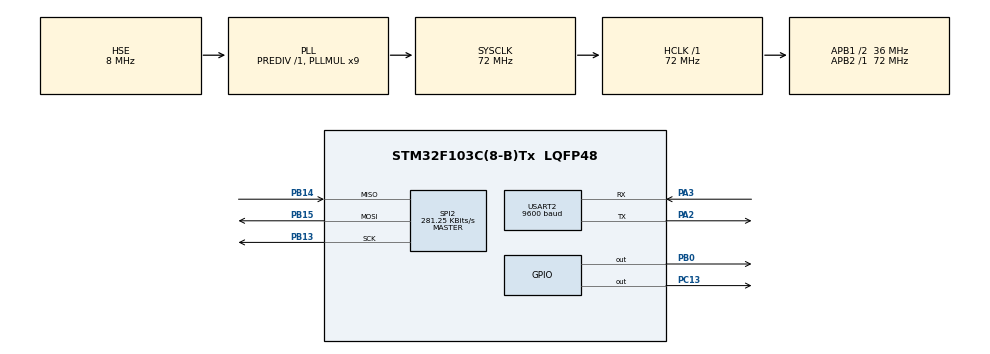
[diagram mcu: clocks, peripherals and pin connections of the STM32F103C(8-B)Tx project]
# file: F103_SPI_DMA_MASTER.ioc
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Dma.Request0=SPI2_RX
Dma.Request1=SPI2_TX
Dma.SPI2_RX.0.Direction=DMA_PERIPH_TO_MEMORY
Dma.SPI2_RX.0.Instance=DMA1_Channel4
Dma.SPI2_RX.0.MemDataAlignment=DMA_MDATAALIGN_BYTE
Dma.SPI2_RX.0.MemInc=DMA_MINC_ENABLE
Dma.SPI2_RX.0.Mode=DMA_NORMAL
Dma.SPI2_RX.0.PeriphDataAlignment=DMA_PDATAALIGN_BYTE
Dma.SPI2_RX.0.PeriphInc=DMA_PINC_DISABLE
Dma.SPI2_RX.0.Priority=DMA_PRIORITY_LOW
Dma.SPI2_TX.1.Direction=DMA_MEMORY_TO_PERIPH
Dma.SPI2_TX.1.Instance=DMA1_Channel5
Dma.SPI2_TX.1.MemDataAlignment=DMA_MDATAALIGN_BYTE
Dma.SPI2_TX.1.MemInc=DMA_MINC_ENABLE
Dma.SPI2_TX.1.Mode=DMA_NORMAL
Dma.SPI2_TX.1.PeriphDataAlignment=DMA_PDATAALIGN_BYTE
Dma.SPI2_TX.1.PeriphInc=DMA_PINC_DISABLE
Dma.SPI2_TX.1.Priority=DMA_PRIORITY_LOW
Mcu.Family=STM32F1
Mcu.Name=STM32F103C(8-B)Tx
Mcu.Package=LQFP48
NVIC.DMA1_Channel4_IRQn=true\:3\:0\:true\:false\:true\:false\:true
NVIC.DMA1_Channel5_IRQn=true\:2\:0\:true\:false\:true\:false\:true
NVIC.PriorityGroup=NVIC_PRIORITYGROUP_4
NVIC.SPI2_IRQn=true\:1\:0\:true\:false\:true\:true\:true
NVIC.USART2_IRQn=true\:0\:0\:true\:false\:true\:true\:true
PA13.Mode=Serial_Wire
PA13.Signal=SYS_JTMS-SWDIO
PA14.Mode=Serial_Wire
PA14.Signal=SYS_JTCK-SWCLK
PA2.Mode=Asynchronous
PA2.Signal=USART2_TX
PA3.Mode=Asynchronous
PA3.Signal=USART2_RX
PB0.Signal=GPIO_Output
PB13.Mode=Full_Duplex_Master
PB13.Signal=SPI2_SCK
PB14.Mode=Full_Duplex_Master
PB14.Signal=SPI2_MISO
PB15.Mode=Full_Duplex_Master
PB15.Signal=SPI2_MOSI
PC13-TAMPER-RTC.Signal=GPIO_Output
PD0-OSC_IN.Mode=HSE-External-Oscillator
PD0-OSC_IN.Signal=RCC_OSC_IN
PD1-OSC_OUT.Mode=HSE-External-Oscillator
PD1-OSC_OUT.Signal=RCC_OSC_OUT
ProjectManager.HeapSize=0x200
ProjectManager.StackSize=0x400
ProjectManager.TargetToolchain=STM32CubeIDE
RCC.ADCPresc=RCC_ADCPCLK2_DIV6
RCC.AHBFreq_Value=72000000
RCC.APB1CLKDivider=RCC_HCLK_DIV2
RCC.APB1Freq_Value=36000000
RCC.APB1TimFreq_Value=72000000
RCC.APB2Freq_Value=72000000
RCC.APB2TimFreq_Value=72000000
RCC.HCLKFreq_Value=72000000
RCC.PLLMUL=RCC_PLL_MUL9
RCC.PLLSourceVirtual=RCC_PLLSOURCE_HSE
RCC.SYSCLKFreq_VALUE=72000000
RCC.SYSCLKSource=RCC_SYSCLKSOURCE_PLLCLK
RCC.USBFreq_Value=72000000
SPI2.BaudRatePrescaler=SPI_BAUDRATEPRESCALER_128
SPI2.CLKPhase=SPI_PHASE_1EDGE
SPI2.CLKPolarity=SPI_POLARITY_HIGH
SPI2.CalculateBaudRate=281.25 KBits/s
SPI2.Direction=SPI_DIRECTION_2LINES
SPI2.Mode=SPI_MODE_MASTER
SPI2.VirtualType=VM_MASTER
USART2.BaudRate=9600
USART2.VirtualMode=VM_ASYNC
board=custom

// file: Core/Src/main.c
/* USER CODE BEGIN Header */
/**
  ******************************************************************************
  * @file           : main.c
  * @brief          : Main program body
  ******************************************************************************
  * @attention
  *
  * <h2><center>&copy; Copyright (c) 2020 STMicroelectronics.
  * All rights reserved.</center></h2>
  *
  * This software component is licensed by ST under BSD 3-Clause license,
  * the "License"; You may not use this file except in compliance with the
  * License. You may obtain a copy of the License at:
  *                        opensource.org/licenses/BSD-3-Clause
  *
  ******************************************************************************
  */
/* USER CODE END Header */

#include "main.h"

SPI_HandleTypeDef hspi2;
DMA_HandleTypeDef hdma_spi2_rx;
DMA_HandleTypeDef hdma_spi2_tx;

UART_HandleTypeDef huart2;

/* USER CODE BEGIN PV */
/* Buffer used for transmission */
/* Size of buffer */
#define BUFFERSIZE                       (COUNTOF(aTxBuffer) - 1)

/* Exported macro ------------------------------------------------------------*/
#define COUNTOF(__BUFFER__)   (sizeof(__BUFFER__) / sizeof(*(__BUFFER__)))
/* Exported functions ------------------------------------------------------- */

uint8_t uartTxBuffer[] = "\r\n****SPI - Polling Modda iki kart haberlesmesi **** \r\n";
uint8_t aTxBuffer[] = "SPI MASTER ILETIM: MASTERDAN SLAVE' E MESAJ";
/* Buffer used for reception */
uint8_t aRxBuffer[43];

/* USER CODE END PV */

void SystemClock_Config(void);
static void MX_GPIO_Init(void);
static void MX_DMA_Init(void);
static void MX_SPI2_Init(void);
static void MX_USART2_UART_Init(void);
/* USER CODE BEGIN PFP */
static uint16_t Buffercmp(uint8_t *pBuffer1, uint8_t *pBuffer2, uint16_t BufferLength);
static void Timeout_Error_Handler(void);
/* USER CODE END PFP */

int main(void)
{

  /* MCU Configuration--------------------------------------------------------*/

  /* Reset of all peripherals, Initializes the Flash interface and the Systick. */
  HAL_Init();

  /* Configure the system clock */
  SystemClock_Config();

  /* Initialize all configured peripherals */
  MX_GPIO_Init();
  MX_DMA_Init();
  MX_SPI2_Init();
  MX_USART2_UART_Init();
  /* USER CODE BEGIN 2 */

  if(HAL_UART_Transmit(&huart2, (uint8_t*)uartTxBuffer, 55, 5000)!= HAL_OK)
  {
    Error_Handler();
  }

  for(volatile uint8_t i=0;i<16;i++)
  {
	  HAL_GPIO_TogglePin(GPIOB, GPIO_PIN_0);
	  HAL_GPIO_TogglePin(GPIOC, GPIO_PIN_13);
	  HAL_Delay(100);
  }

  HAL_GPIO_WritePin(GPIOC, GPIO_PIN_13,GPIO_PIN_RESET);
  HAL_GPIO_WritePin(GPIOB, GPIO_PIN_0,GPIO_PIN_RESET);

  /* CLK sinyalinin düzgün şekilde aşağı çekilmesi için SPI gönderme / alma işlevlerini çağırmadan önce SPI bloğu etkinleştirilir.
        Aksi takdirde, SPI CLK sinyali bu kartta temiz değildir ve aktarım sırasında hatalara neden olur */

  __HAL_SPI_ENABLE(&hspi2);

  if(HAL_SPI_TransmitReceive_DMA(&hspi2, (uint8_t*)aTxBuffer, (uint8_t *)aRxBuffer, 43) != HAL_OK)
  {
    Error_Handler();
  }

  while (HAL_SPI_GetState(&hspi2) != HAL_SPI_STATE_READY);

  /* USER CODE END 2 */

  /* Infinite loop */
  while (1)
  {

  }
}

void SystemClock_Config(void)
{
  RCC_OscInitTypeDef RCC_OscInitStruct = {0};
  RCC_ClkInitTypeDef RCC_ClkInitStruct = {0};

  /** Initializes the CPU, AHB and APB busses clocks
  */
  RCC_OscInitStruct.OscillatorType = RCC_OSCILLATORTYPE_HSE;
  RCC_OscInitStruct.HSEState = RCC_HSE_ON;
  RCC_OscInitStruct.HSEPredivValue = RCC_HSE_PREDIV_DIV1;
  RCC_OscInitStruct.HSIState = RCC_HSI_ON;
  RCC_OscInitStruct.PLL.PLLState = RCC_PLL_ON;
  RCC_OscInitStruct.PLL.PLLSource = RCC_PLLSOURCE_HSE;
  RCC_OscInitStruct.PLL.PLLMUL = RCC_PLL_MUL9;
  if (HAL_RCC_OscConfig(&RCC_OscInitStruct) != HAL_OK)
  {
    Error_Handler();
  }
  /** Initializes the CPU, AHB and APB busses clocks
  */
  RCC_ClkInitStruct.ClockType = RCC_CLOCKTYPE_HCLK|RCC_CLOCKTYPE_SYSCLK
                              |RCC_CLOCKTYPE_PCLK1|RCC_CLOCKTYPE_PCLK2;
  RCC_ClkInitStruct.SYSCLKSource = RCC_SYSCLKSOURCE_PLLCLK;
  RCC_ClkInitStruct.AHBCLKDivider = RCC_SYSCLK_DIV1;
  RCC_ClkInitStruct.APB1CLKDivider = RCC_HCLK_DIV2;
  RCC_ClkInitStruct.APB2CLKDivider = RCC_HCLK_DIV1;

  if (HAL_RCC_ClockConfig(&RCC_ClkInitStruct, FLASH_LATENCY_2) != HAL_OK)
  {
    Error_Handler();
  }
}

static void MX_SPI2_Init(void)
{

  /* SPI2 parameter configuration*/
  hspi2.Instance = SPI2;
  hspi2.Init.Mode = SPI_MODE_MASTER;
  hspi2.Init.Direction = SPI_DIRECTION_2LINES;
  hspi2.Init.DataSize = SPI_DATASIZE_8BIT;
  hspi2.Init.CLKPolarity = SPI_POLARITY_HIGH;
  hspi2.Init.CLKPhase = SPI_PHASE_1EDGE;
  hspi2.Init.NSS = SPI_NSS_SOFT;
  hspi2.Init.BaudRatePrescaler = SPI_BAUDRATEPRESCALER_128;
  hspi2.Init.FirstBit = SPI_FIRSTBIT_MSB;
  hspi2.Init.TIMode = SPI_TIMODE_DISABLE;
  hspi2.Init.CRCCalculation = SPI_CRCCALCULATION_DISABLE;
  hspi2.Init.CRCPolynomial = 10;
  if (HAL_SPI_Init(&hspi2) != HAL_OK)
  {
    Error_Handler();
  }

}

static void MX_USART2_UART_Init(void)
{

  huart2.Instance = USART2;
  huart2.Init.BaudRate = 9600;
  huart2.Init.WordLength = UART_WORDLENGTH_8B;
  huart2.Init.StopBits = UART_STOPBITS_1;
  huart2.Init.Parity = UART_PARITY_NONE;
  huart2.Init.Mode = UART_MODE_TX_RX;
  huart2.Init.HwFlowCtl = UART_HWCONTROL_NONE;
  huart2.Init.OverSampling = UART_OVERSAMPLING_16;
  if (HAL_UART_Init(&huart2) != HAL_OK)
  {
    Error_Handler();
  }

}

static void MX_DMA_Init(void)
{

  /* DMA controller clock enable */
  __HAL_RCC_DMA1_CLK_ENABLE();

  /* DMA interrupt init */
  /* DMA1_Channel4_IRQn interrupt configuration */
  HAL_NVIC_SetPriority(DMA1_Channel4_IRQn, 3, 0);
  HAL_NVIC_EnableIRQ(DMA1_Channel4_IRQn);
  /* DMA1_Channel5_IRQn interrupt configuration */
  HAL_NVIC_SetPriority(DMA1_Channel5_IRQn, 2, 0);
  HAL_NVIC_EnableIRQ(DMA1_Channel5_IRQn);

}

static void MX_GPIO_Init(void)
{
  GPIO_InitTypeDef GPIO_InitStruct = {0};

  /* GPIO Ports Clock Enable */
  __HAL_RCC_GPIOC_CLK_ENABLE();
  __HAL_RCC_GPIOD_CLK_ENABLE();
  __HAL_RCC_GPIOA_CLK_ENABLE();
  __HAL_RCC_GPIOB_CLK_ENABLE();

  /*Configure GPIO pin Output Level */
  HAL_GPIO_WritePin(GPIOC, GPIO_PIN_13, GPIO_PIN_RESET);

  /*Configure GPIO pin Output Level */
  HAL_GPIO_WritePin(GPIOB, GPIO_PIN_0, GPIO_PIN_RESET);

  /*Configure GPIO pin : PC13 */
  GPIO_InitStruct.Pin = GPIO_PIN_13;
  GPIO_InitStruct.Mode = GPIO_MODE_OUTPUT_PP;
  GPIO_InitStruct.Pull = GPIO_NOPULL;
  GPIO_InitStruct.Speed = GPIO_SPEED_FREQ_LOW;
  HAL_GPIO_Init(GPIOC, &GPIO_InitStruct);

  /*Configure GPIO pin : PB0 */
  GPIO_InitStruct.Pin = GPIO_PIN_0;
  GPIO_InitStruct.Mode = GPIO_MODE_OUTPUT_PP;
  GPIO_InitStruct.Pull = GPIO_NOPULL;
  GPIO_InitStruct.Speed = GPIO_SPEED_FREQ_LOW;
  HAL_GPIO_Init(GPIOB, &GPIO_InitStruct);

}

/* USER CODE BEGIN 4 */

void HAL_SPI_TxRxCpltCallback(SPI_HandleTypeDef *hspi)
{
	  if(HAL_SPI_TransmitReceive_DMA(&hspi2, (uint8_t*)aTxBuffer, (uint8_t *)aRxBuffer, 43) != HAL_OK)
	  {
		Error_Handler();
	  }
	  HAL_GPIO_WritePin(GPIOB, GPIO_PIN_0, GPIO_PIN_SET);
	  HAL_GPIO_WritePin(GPIOC, GPIO_PIN_13, GPIO_PIN_SET);
	  while(HAL_UART_GetState(&huart2)!= HAL_UART_STATE_READY);
	  if(HAL_UART_Transmit(&huart2, (uint8_t*)aRxBuffer, BUFFERSIZE, 5000)!= HAL_OK)
	    {
		  Error_Handler();
		}
}

void HAL_SPI_ErrorCallback(SPI_HandleTypeDef *hspi)
{
	  HAL_GPIO_WritePin(GPIOB, GPIO_PIN_0, GPIO_PIN_RESET);
	  HAL_GPIO_WritePin(GPIOC, GPIO_PIN_13, GPIO_PIN_RESET);
}
/**
  * @brief  Compares two buffers.
  * @param  pBuffer1, pBuffer2: buffers to be compared.
  * @param  BufferLength: buffer's length
  * @retval 0  : pBuffer1 identical to pBuffer2
  *         >0 : pBuffer1 differs from pBuffer2
  */

/**
  * @brief  This function is executed in case of error occurrence.
  * @retval None
  */

static void Timeout_Error_Handler(void)
{
  while(1)
  {
	    HAL_GPIO_TogglePin(GPIOC, GPIO_PIN_13);
	    HAL_Delay(1000);
  }
}

/* USER CODE END 4 */

void Error_Handler(void)
{
  /* USER CODE BEGIN Error_Handler_Debug */
  /* User can add his own implementation to report the HAL error return state */
	  HAL_GPIO_WritePin(GPIOB, GPIO_PIN_0, GPIO_PIN_RESET);
	  HAL_GPIO_WritePin(GPIOC, GPIO_PIN_13, GPIO_PIN_RESET);
  /* USER CODE END Error_Handler_Debug */
}

/************************ (C) COPYRIGHT STMicroelectronics *****END OF FILE****/
